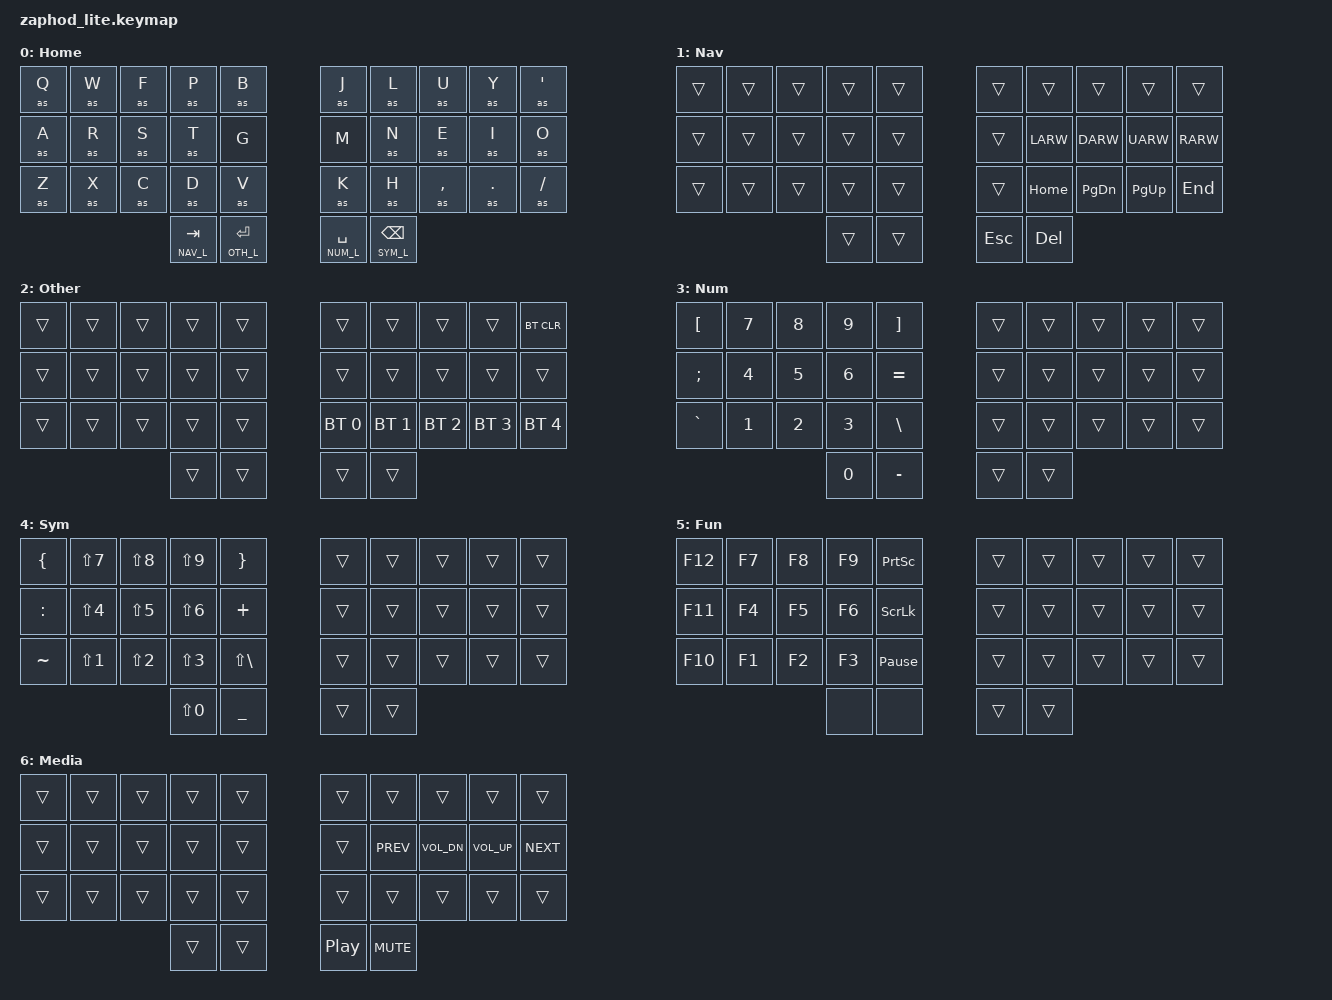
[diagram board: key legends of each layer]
/*
 * Copyright (c) 2021 Pete Johanson
 *
 * SPDX-License-Identifier: MIT
 * Autoshift implementation by: https://github.com/nickcoutsos/keymap-editor/wiki/Autoshift-using-ZMK-behaviors
 */

#include <behaviors.dtsi>
#include <dt-bindings/zmk/keys.h>
#include <dt-bindings/zmk/bt.h>
#include <dt-bindings/zmk/outputs.h>

#define NAV_L 1
#define OTH_L 2
#define NUM_L 3
#define SYM_L 4
#define FUN_L 5
#define MED_L 6

// Using layer taps on thumbs, having quick tap as well helps w/ repeating space/backspace
&lt { quick_tap_ms = <200>; };

/ {
    macros {
        shifted: macro_shifted_kp {
            #binding-cells = <1>;
            label = "MACRO_SHIFTED_KP";
            compatible = "zmk,behavior-macro-one-param";
            bindings =
            <&macro_press &kp LSHFT>,
            <&macro_param_1to1 &macro_tap &kp MACRO_PLACEHOLDER>,
            <&macro_release &kp LSHFT>;
        };

        as: autoshift {
            compatible = "zmk,behavior-macro-one-param";
            #binding-cells = <1>;
            label = "AUTOSHIFT_KP";
            bindings =
            <&macro_press>,
            <&macro_param_1to1>,
            <&macro_param_1to2>,
            <&as_ht MACRO_PLACEHOLDER MACRO_PLACEHOLDER>,
            <&macro_pause_for_release>,
            <&macro_release>,
            <&macro_param_1to1>,
            <&macro_param_1to2>,
            <&as_ht MACRO_PLACEHOLDER MACRO_PLACEHOLDER>;
        };
    }
    combos {
        compatible = "zmk,combos";

        fn_mo {
	    timeout-ms = <50>;
            key-positions = <32 33>;
            bindings = <&mo FUN_L>;
        };

        media_mo {
	    timeout-ms = <50>;
            key-positions = <30 31>;
            bindings = <&mo MED_L>;
        };

	/*
        caps_word_combo {
	    timeout-ms = <50>;
            key-positions = <13 16>;
            bindings = <&caps_word>;
        };
	*/
    };

    behaviors {
        hm: homerow_mods {
            compatible = "zmk,behavior-hold-tap";
            label = "homerow mods";
            #binding-cells = <2>;
            tapping_term_ms = <200>;
            flavor = "tap-preferred";
            bindings = <&kp>, <&kp>;
        };

        as_ht: autoshift_hold_tap {
            compatible = "zmk,behavior-hold-tap";
            label = "AUTOSHIFT_HOLD_TAP";
            #binding-cells = <2>;
            tapping-term-ms = <175>;
            flavor = "tap-preferred";
            bindings = <&shifted>, <&kp>;
        };
    };

    keymap {
        compatible = "zmk,keymap";

        home_layer {
            label = "Home";
            bindings = <
                &as Q      &as W      &as F       &as P          &as B         &as J            &as L          &as U       &as Y      &as QUOT
                &as A      &as R      &as S       &as T          &kp G         &kp M            &as N          &as E       &as I      &as O
                &as Z      &as X      &as C       &as D          &as V         &as K            &as H          &as COMMA   &as DOT    &as FSLH     
                                                  &lt NAV_L TAB  &lt OTH_L RET &lt NUM_L SPACE  &lt SYM_L BKSP
            >;
        };

        nav_layer {
            label = "Nav";
            bindings = <
                &trans     &trans     &trans      &trans          &trans       &trans           &trans         &trans      &trans     &trans
                &trans     &trans     &trans      &trans          &trans       &trans           &kp LARW       &kp DARW    &kp UARW   &kp RARW
                &trans     &trans     &trans      &trans          &trans       &trans           &kp HOME       &kp PG_DN   &kp PG_UP  &kp END
                                                  &trans          &trans       &kp ESC          &kp DEL
            >;
        };

        other_layer {
            label = "Other";
            bindings = <
                &trans	   &trans     &trans      &trans          &trans       &trans           &trans         &trans       &trans       &bt BT_CLR
                &trans     &trans     &trans      &trans          &trans       &trans           &trans         &trans       &trans       &trans
                &trans     &trans     &trans      &trans          &trans       &bt BT_SEL 0     &bt BT_SEL 1   &bt BT_SEL 2 &bt BT_SEL 3 &bt BT_SEL 4
                                                  &trans          &trans       &trans           &trans
            >;
        };

        num_layer {
            label = "Num";
            bindings = <
                &kp LBKT   &kp N7     &kp N8      &kp N9          &kp RBKT      &trans          &trans         &trans      &trans     &trans
                &kp SEMI   &kp N4     &kp N5      &kp N6          &kp EQUAL     &trans          &trans         &trans      &trans     &trans
                &kp GRAVE  &kp N1     &kp N2      &kp N3          &kp BSLH      &trans          &trans         &trans      &trans     &trans
                                                  &kp N0          &kp MINUS     &trans          &trans
            >;
        };

        sym_layer {
            label = "Sym";
            bindings = <
                &kp LBRC     &kp LS(N7)  &kp LS(N8)  &kp LS(N9) &kp RBRC        &trans &trans   &trans    &trans    &trans
                &kp COLON    &kp LS(N4)  &kp LS(N5)  &kp LS(N6) &kp PLUS        &trans &trans   &trans    &trans    &trans
                &kp TILDE    &kp LS(N1)  &kp LS(N2)  &kp LS(N3) &kp LS(BSLH)    &trans &trans   &trans    &trans    &trans
                                                   &kp LS(N0) &kp UNDER         &trans &trans
            >;
        };

        fun_layer {
            label = "Fun";
            bindings = <
                &kp F12     &kp F7     &kp F8      &kp F9     &kp PSCRN         &trans          &trans         &trans      &trans     &trans
                &kp F11     &kp F4     &kp F5      &kp F6     &kp SLCK          &trans          &trans         &trans      &trans     &trans
                &kp F10     &kp F1     &kp F2      &kp F3     &kp PAUSE_BREAK   &trans          &trans         &trans      &trans     &trans
                                                   &none      &none             &trans          &trans
            >;
        };
        media_layer {
            label = "Media";
            bindings = <
                &trans	   &trans     &trans      &trans          &trans       &trans           &trans         &trans       &trans       &trans
                &trans     &trans     &trans      &trans          &trans       &trans           &kp C_PREV     &kp C_VOL_DN &kp C_VOL_UP &kp C_NEXT
                &trans     &trans     &trans      &trans          &trans       &trans           &trans         &trans       &trans       &trans
                                                  &trans          &trans       &kp C_PLAY_PAUSE &kp C_MUTE
            >;
        };
    };
};

